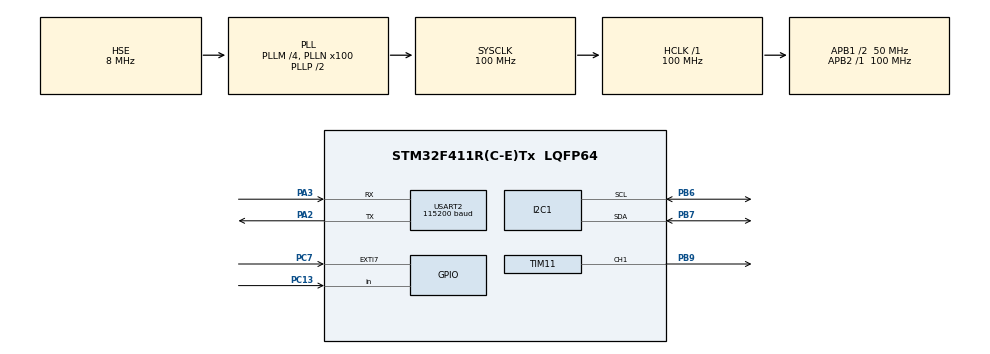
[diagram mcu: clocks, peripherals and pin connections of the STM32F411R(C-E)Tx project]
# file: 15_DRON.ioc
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I2C1.I2C_Mode=I2C_Standard
Mcu.Family=STM32F4
Mcu.Name=STM32F411R(C-E)Tx
Mcu.Package=LQFP64
NVIC.EXTI9_5_IRQn=true\:0\:0\:false\:false\:true\:true\:true\:true
NVIC.I2C1_ER_IRQn=true\:0\:0\:false\:false\:true\:true\:true\:true
NVIC.I2C1_EV_IRQn=true\:0\:0\:false\:false\:true\:true\:true\:true
NVIC.PriorityGroup=NVIC_PRIORITYGROUP_4
NVIC.TIM1_TRG_COM_TIM11_IRQn=true\:0\:0\:false\:false\:true\:true\:true\:true
NVIC.TIM3_IRQn=true\:0\:0\:false\:false\:true\:true\:true\:true
NVIC.USART2_IRQn=true\:0\:0\:false\:false\:true\:true\:true\:true
PA13.Mode=Serial_Wire
PA13.Signal=SYS_JTMS-SWDIO
PA14.Mode=Serial_Wire
PA14.Signal=SYS_JTCK-SWCLK
PA2.Mode=Asynchronous
PA2.Signal=USART2_TX
PA3.Mode=Asynchronous
PA3.Signal=USART2_RX
PB6.Mode=I2C
PB6.Signal=I2C1_SCL
PB7.Mode=I2C
PB7.Signal=I2C1_SDA
PB9.Signal=S_TIM11_CH1
PC13-ANTI_TAMP.Signal=GPIO_Input
PC7.Signal=GPXTI7
PH0\ -\ OSC_IN.Mode=HSE-External-Oscillator
PH0\ -\ OSC_IN.Signal=RCC_OSC_IN
PH1\ -\ OSC_OUT.Mode=HSE-External-Oscillator
PH1\ -\ OSC_OUT.Signal=RCC_OSC_OUT
ProjectManager.HeapSize=0x200
ProjectManager.StackSize=0x400
ProjectManager.TargetToolchain=STM32CubeIDE
RCC.48MHZClocksFreq_Value=50000000
RCC.AHBFreq_Value=100000000
RCC.APB1CLKDivider=RCC_HCLK_DIV2
RCC.APB1Freq_Value=50000000
RCC.APB1TimFreq_Value=100000000
RCC.APB2Freq_Value=100000000
RCC.APB2TimFreq_Value=100000000
RCC.CortexFreq_Value=100000000
RCC.HCLKFreq_Value=100000000
RCC.HSE_VALUE=8000000
RCC.HSI_VALUE=16000000
RCC.LSE_VALUE=32768
RCC.PLLM=4
RCC.PLLN=100
RCC.PLLSourceVirtual=RCC_PLLSOURCE_HSE
RCC.SYSCLKFreq_VALUE=100000000
RCC.SYSCLKSource=RCC_SYSCLKSOURCE_PLLCLK
RCC.VCOOutputFreq_Value=200000000
SH.S_TIM11_CH1.0=TIM11_CH1,PWM Generation1 CH1
TIM11.Channel=TIM_CHANNEL_1
TIM11.Period=20000-1
TIM11.Prescaler=100-1
TIM3.Period=40-1
TIM3.Prescaler=10000-1
TIM3.TIM_MasterOutputTrigger=TIM_TRGO_RESET
USART2.BaudRate=115200
USART2.VirtualMode=VM_ASYNC
VP_TIM11_VS_ClockSourceINT.Mode=Enable_Timer
VP_TIM3_VS_ClockSourceINT.Mode=Internal
board=custom

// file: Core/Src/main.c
/* USER CODE BEGIN Header */
/**
  ******************************************************************************
  * @file           : main.c
  * @brief          : Main program body
  ******************************************************************************
  * @attention
  *
  * Copyright (c) 2025 STMicroelectronics.
  * All rights reserved.
  *
  * This software is licensed under terms that can be found in the LICENSE file
  * in the root directory of this software component.
  * If no LICENSE file comes with this software, it is provided AS-IS.
  *
  ******************************************************************************
  */
/* USER CODE END Header */
#include "main.h"
#include "i2c.h"
#include "tim.h"
#include "usart.h"
#include "gpio.h"

/* USER CODE BEGIN Includes */

#include "IMU.h"
#include <stdio.h>
#include <string.h>
#include <math.h>
#include "PID.h"

/* USER CODE END Includes */

/* USER CODE BEGIN PV */
enum{
	RELEASED,
	PUSHED
};

uint8_t prevState = RELEASED;
uint8_t currState = RELEASED;

float dt = 0.004f;     // 250Hz이면 1/250 = 0.004

/* USER CODE END PV */

void SystemClock_Config(void);
/* USER CODE BEGIN PFP */

//void ESC_Calibration()
//{
//	TIM11 -> CCR1 = 1000;
//	HAL_Delay(3000);
//
//	TIM11 -> CCR1 = 1100;
//	HAL_Delay(1000);
//	TIM11 -> CCR1 = 1200;
//	HAL_Delay(1000);
//	TIM11 -> CCR1 = 1300;
//	HAL_Delay(1000);
//	TIM11 -> CCR1 = 1400;
//	HAL_Delay(1000);
//	TIM11 -> CCR1 = 1500;
//	HAL_Delay(1000);
//	TIM11 -> CCR1 = 1600;
//	HAL_Delay(1000);
//	TIM11 -> CCR1 = 1700;
//	HAL_Delay(1000);
//	TIM11 -> CCR1 = 1800;
//	HAL_Delay(1000);
//	TIM11 -> CCR1 = 1900;
//	HAL_Delay(1000);
//	TIM11 -> CCR1 = 2000;
//	HAL_Delay(1000);
//	TIM11 -> CCR1 = 1000;
//	HAL_Delay(1000);
//}
//

//void HAL_GPIO_EXTI_Callback(uint16_t GPIO_Pin)
//{
//	if(GPIO_Pin == GPIO_PIN_7)
//	{
//		rdy_flag = 1;
//	}
//}

static void uart_print(const char *s)
{
  HAL_UART_Transmit(&huart2, (uint8_t*)s, strlen(s), 100);
}

void HAL_TIM_PeriodElapsedCallback(TIM_HandleTypeDef *htim)
{
    if (htim->Instance == TIM3)
    {
        imu_tick = 1;
    }
}

/* USER CODE END PFP */

int main(void)
{

  /* MCU Configuration--------------------------------------------------------*/

  /* Reset of all peripherals, Initializes the Flash interface and the Systick. */
  HAL_Init();

  /* Configure the system clock */
  SystemClock_Config();

  /* Initialize all configured peripherals */
  MX_GPIO_Init();
  MX_TIM11_Init();
  MX_I2C1_Init();
  MX_USART2_UART_Init();
  MX_TIM3_Init();
  /* USER CODE BEGIN 2 */

  HAL_TIM_Base_Start_IT(&htim3);

//  HAL_TIM_PWM_Start(&htim11, TIM_CHANNEL_1);
//  TIM11 -> CCR1 = 2500;

  // who_am_I
  uint8_t who = 0;
  if (mpu_read(REG_WHO_AM_I, &who, 1) != HAL_OK) Error_Handler();
  if (who != 0x68) Error_Handler();

  // Wake up
  if (mpu_write8(REG_PWR_MGMT_1, 0x00) != HAL_OK) Error_Handler();
  HAL_Delay(50);

  uint32_t last_print = HAL_GetTick();

  // calibration while dron is stopping
  uart_print("Gyro calibrating... keep still\r\n");
  gyro_calibrate(1000); // 약 2초 정도
  char msg[80];
  sprintf(msg, "Gyro bias raw: %.2f %.2f %.2f\r\n", gx_bias, gy_bias, gz_bias);
  uart_print(msg);

  /* USER CODE END 2 */

  /* Infinite loop */
  while (1)
  {

    /* USER CODE BEGIN 3 */
//	  currState = (HAL_GPIO_ReadPin(GPIOC, GPIO_PIN_13) == 0)?PUSHED:RELEASED;
//
//	  if((prevState == RELEASED) && (currState == PUSHED))
//	  {
//		  HAL_Delay(20);
//		  if(HAL_GPIO_ReadPin(GPIOC, GPIO_PIN_13) == 0)
//			  ESC_Calibration();
//	  }
//	  prevState = currState;
//
	  if (imu_tick)
	      {
	          imu_tick = 0;

	          HAL_StatusTypeDef st = mpu_read14(mpu_raw);
	          if (st != HAL_OK)
	          {
	              imu_err_cnt++;

	              // 아주 간단한 복구(1단계용)
	              HAL_I2C_DeInit(&hi2c1);
	              HAL_I2C_Init(&hi2c1);
	              mpu_write8(REG_PWR_MGMT_1, 0x00);
	          }

	          int16_t ax, ay, az, temp, gx, gy, gz;
	          mpu_parse_raw(mpu_raw, &ax, &ay, &az, &temp, &gx, &gy, &gz);

	          // accel [g]
	          ax_g = ax / 16384.0f;
	          ay_g = ay / 16384.0f;
	          az_g = az / 16384.0f;

	          // gyro [deg/s] (bias 보정)
	          gx_dps = (gx - gx_bias) / 131.0f;
	          gy_dps = (gy - gy_bias) / 131.0f;
	          gz_dps = (gz - gz_bias) / 131.0f;

	          // gyro deg/s -> rad/s
	          float gx_rad = gx_dps * DEG2RAD;
	          float gy_rad = gy_dps * DEG2RAD;
	          float gz_rad = gz_dps * DEG2RAD; // yaw는 지금 안 써도 됨

	          // accel 기반 각도 (rad)
	          float roll_acc  = atan2f(ay_g, az_g);
	          float pitch_acc = atan2f(-ax_g, sqrtf(ay_g*ay_g + az_g*az_g));

	          // 1) gyro 적분 (예측)
	          roll  += gx_rad * dt;
	          pitch += gy_rad * dt;

	          // 2) complementary fusion (보정)
	          roll  = alpha * roll  + (1.0f - alpha) * roll_acc;
	          pitch = alpha * pitch + (1.0f - alpha) * pitch_acc;

	      }

	      // UART 출력은 10Hz 정도로만 (100ms)
	      if (HAL_GetTick() - last_print >= 100)
	      {
	          last_print = HAL_GetTick();

	          int16_t ax = (int16_t)((mpu_raw[0] << 8) | mpu_raw[1]);
	          int16_t ay = (int16_t)((mpu_raw[2] << 8) | mpu_raw[3]);
	          int16_t az = (int16_t)((mpu_raw[4] << 8) | mpu_raw[5]);
	          int16_t gx = (int16_t)((mpu_raw[8] << 8) | mpu_raw[9]);

//	          sprintf(msg, "ax=%d ay=%d az=%d gx=%d err=%lu\r\n",
//	                  ax, ay, az, gx, (unsigned long)imu_err_cnt);
//	          sprintf(msg, "gx_dps=%.2f gy_dps=%.2f gz_dps=%.2f err=%lu\r\n",
//	          	                  gx_dps, gy_dps, gz_dps, (unsigned long)imu_err_cnt);
//	          HAL_UART_Transmit(&huart2, (uint8_t*)msg, strlen(msg), 50);

//	          sprintf(msg, "roll=%.2f deg, pitch=%.2f deg\r\n", roll*RAD2DEG, pitch*RAD2DEG);
//	          uart_print(msg);

	          PID_t pid_roll_rate = {
	              .kp = 0.15f,
	              .ki = 0.0f,
	              .kd = 0.000f,
	              .out_limit = 300.0f
	          };

	          PID_t pid_roll_angle = {
	              .kp = 4.0f,
	              .ki = 0.0f,
	              .kd = 0.0f,
	              .out_limit = 200.0f   // rate_cmd 제한 (deg/s)
	          };

	          float roll_target = 0.0;
	          float roll_angle = roll*RAD2DEG;
	          float angle_error = roll_target - roll_angle;

//	          float roll_rate_cmd = 0.0f;   // deg/s (rate PID 테스트용)
	          float roll_rate = gx_dps;     // 현재 각속도
	          float roll_rate_cmd = angle_pid_update(&pid_roll_angle, angle_error);
	          float rate_error = roll_rate_cmd - roll_rate;

	          float roll_pid_out = rate_pid_update(&pid_roll_rate,
	                                          rate_error,
	                                          dt);
//	          sprintf(msg, "rate=%.2f, pid_out=%.2f\r\n",
//                      gx_dps, roll_pid_out);
//	          uart_print(msg);

	          sprintf(msg, "angle=%.2f, rate_cmd=%.2f, rate=%.2f, pid=%.2f\r\n",
	                  roll_angle,
	                  roll_rate_cmd,
	                  roll_rate,
	                  roll_pid_out);
	          uart_print(msg);

	      }

  }
  /* USER CODE END 3 */
}

void SystemClock_Config(void)
{
  RCC_OscInitTypeDef RCC_OscInitStruct = {0};
  RCC_ClkInitTypeDef RCC_ClkInitStruct = {0};

  /** Configure the main internal regulator output voltage
  */
  __HAL_RCC_PWR_CLK_ENABLE();
  __HAL_PWR_VOLTAGESCALING_CONFIG(PWR_REGULATOR_VOLTAGE_SCALE1);

  /** Initializes the RCC Oscillators according to the specified parameters
  * in the RCC_OscInitTypeDef structure.
  */
  RCC_OscInitStruct.OscillatorType = RCC_OSCILLATORTYPE_HSE;
  RCC_OscInitStruct.HSEState = RCC_HSE_ON;
  RCC_OscInitStruct.PLL.PLLState = RCC_PLL_ON;
  RCC_OscInitStruct.PLL.PLLSource = RCC_PLLSOURCE_HSE;
  RCC_OscInitStruct.PLL.PLLM = 4;
  RCC_OscInitStruct.PLL.PLLN = 100;
  RCC_OscInitStruct.PLL.PLLP = RCC_PLLP_DIV2;
  RCC_OscInitStruct.PLL.PLLQ = 4;
  if (HAL_RCC_OscConfig(&RCC_OscInitStruct) != HAL_OK)
  {
    Error_Handler();
  }

  /** Initializes the CPU, AHB and APB buses clocks
  */
  RCC_ClkInitStruct.ClockType = RCC_CLOCKTYPE_HCLK|RCC_CLOCKTYPE_SYSCLK
                              |RCC_CLOCKTYPE_PCLK1|RCC_CLOCKTYPE_PCLK2;
  RCC_ClkInitStruct.SYSCLKSource = RCC_SYSCLKSOURCE_PLLCLK;
  RCC_ClkInitStruct.AHBCLKDivider = RCC_SYSCLK_DIV1;
  RCC_ClkInitStruct.APB1CLKDivider = RCC_HCLK_DIV2;
  RCC_ClkInitStruct.APB2CLKDivider = RCC_HCLK_DIV1;

  if (HAL_RCC_ClockConfig(&RCC_ClkInitStruct, FLASH_LATENCY_3) != HAL_OK)
  {
    Error_Handler();
  }
}

void Error_Handler(void)
{
  __disable_irq();
  while (1)
  {
  }
}
